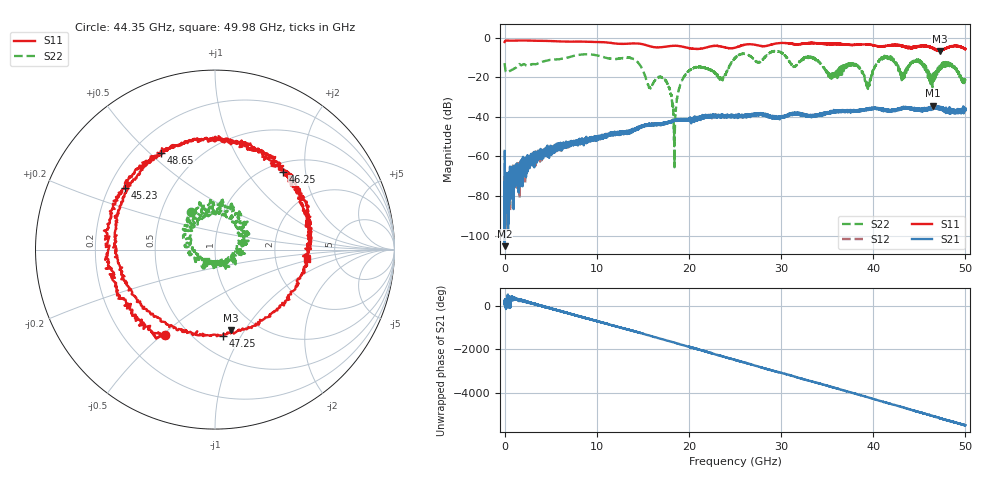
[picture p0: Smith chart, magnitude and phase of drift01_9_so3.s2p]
!Created with skrf (http://scikit-rf.org).
# Hz S RI R 50.0
!freq ReS11 ImS11 ReS21 ImS21 ReS12 ImS12 ReS22 ImS22
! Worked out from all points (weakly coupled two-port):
!   10001 points, 300 kHz to 50 GHz, reference 50 ohm
!   highest |S21| = -34.34 dB at 46.45 GHz (marker M1); lowest = -105.4 dB at 15.3 MHz (marker M2)
!   lowest |S11| = -6.8 dB at 47.2 GHz (marker M3), VSWR 2.70, Z = 38.2 - j43.6 ohm
!   |S11| at or under -10 dB: nowhere
!   |S22| runs from -65.5 to -6.6 dB; largest |S21 - S12| = 0.0041
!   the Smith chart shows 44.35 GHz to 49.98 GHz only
!   S11 on the Smith chart (normalised r, x): 44.35 GHz: 0.37, -0.51; 45.23 GHz: 0.26, +0.29; 46.25 GHz: 1.17, +1.51; 47.25 GHz: 0.67, -0.83; 48.65 GHz: 0.31, +0.55; 49.98 GHz: 3.07, -0.44
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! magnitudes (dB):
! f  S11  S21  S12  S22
! 300 kHz  -2.1  -57.2  -57.3  -12.8
! 15.3 MHz  -2.0  -105.4  -73.9  -13.6
! 260.3 MHz  -1.4  -75.8  -78.4  -17.5
! 8.335 GHz  -2.0  -53.2  -52.7  -8.5
! 16.67 GHz  -4.9  -43.9  -43.9  -20.0
! 17.74 GHz  -4.3  -42.7  -43.0  -23.7
! 18.43 GHz  -4.1  -41.7  -41.8  -61.4
! 19.89 GHz  -5.1  -41.3  -41.5  -17.1
! 23.59 GHz  -4.5  -39.6  -39.3  -20.3
! 25 GHz  -5.0  -39.8  -39.9  -10.5
! 33.34 GHz  -2.6  -39.1  -39.4  -9.9
! 39.37 GHz  -3.4  -35.7  -35.9  -23.6
! 41.67 GHz  -3.9  -36.9  -36.7  -9.9
! 44.35 GHz  -5.2  -36.5  -35.8  -12.0
! 45.23 GHz  -4.3  -36.6  -36.9  -12.2
! 46.25 GHz  -4.8  -35.6  -35.3  -22.5
! 46.45 GHz  -5.2  -34.3  -35.6  -21.7
! 47.2 GHz  -6.8  -35.4  -35.0  -14.3
! 47.25 GHz  -6.4  -36.0  -34.9  -15.6
! 48.65 GHz  -4.2  -37.1  -37.1  -14.6
! 49.98 GHz  -5.7  -36.9  -36.8  -21.7
! 50 GHz  -5.6  -35.8  -35.8  -21.7
